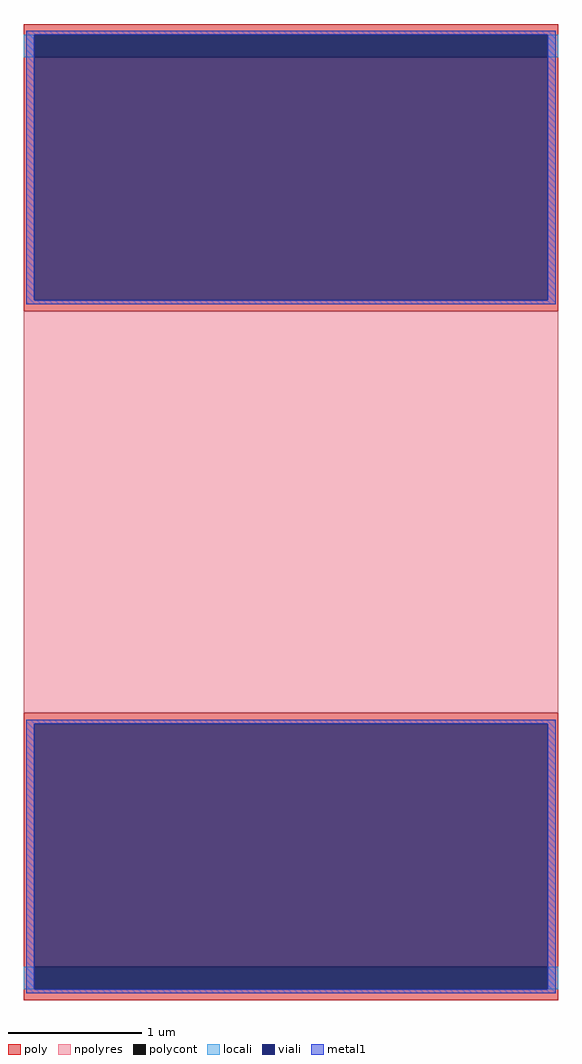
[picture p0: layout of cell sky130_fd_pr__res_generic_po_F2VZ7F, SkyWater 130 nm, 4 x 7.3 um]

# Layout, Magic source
magic
tech sky130A
magscale 1 2
<< poly >>
rect -400 714 400 730
rect -400 680 -384 714
rect 384 680 400 714
rect -400 300 400 680
rect -400 -680 400 -300
rect -400 -714 -384 -680
rect 384 -714 400 -680
rect -400 -730 400 -714
<< polycont >>
rect -384 680 384 714
rect -384 -714 384 -680
<< npolyres >>
rect -400 -300 400 300
<< locali >>
rect -400 680 -384 714
rect 384 680 400 714
rect -400 -714 -384 -680
rect 384 -714 400 -680
<< viali >>
rect -384 680 384 714
rect -384 317 384 680
rect -384 -680 384 -317
rect -384 -714 384 -680
<< metal1 >>
rect -396 714 396 720
rect -396 317 -384 714
rect 384 317 396 714
rect -396 311 396 317
rect -396 -317 396 -311
rect -396 -714 -384 -317
rect 384 -714 396 -317
rect -396 -720 396 -714
<< properties >>
string gencell sky130_fd_pr__res_generic_po
string library sky130
string parameters w 4 l 3.0 m 1 nx 1 wmin 0.330 lmin 1.650 rho 48.2 val 36.15 dummy 0 dw 0.0 term 0.0 sterm 0.0 caplen 0.4 snake 0 guard 0 glc 1 grc 1 gtc 1 gbc 1 roverlap 0 endcov 100 full_metal 1 hv_guard 0 n_guard 0 vias 1 viagb 0 viagt 0 viagl 0 viagr 0
<< end >>
